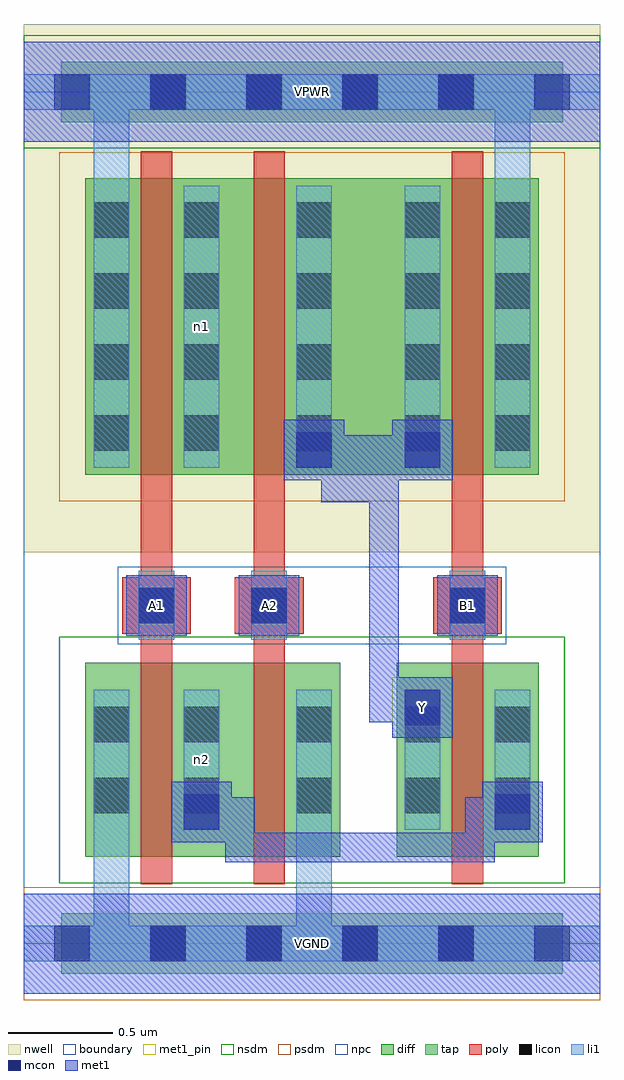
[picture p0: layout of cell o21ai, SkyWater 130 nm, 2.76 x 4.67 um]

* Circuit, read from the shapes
.subckt o21ai A1 A2 B1 VGND VPWR Y n1 n2
XM1 n2 A1 VGND VGND sky130_fd_pr__nfet_01v8 w=0.93 l=0.15
XM2 VGND A2 n2 VGND sky130_fd_pr__nfet_01v8 w=0.93 l=0.15
XM3 n2 B1 Y VGND sky130_fd_pr__nfet_01v8 w=0.93 l=0.15
XM4 n1 A1 VPWR VPWR sky130_fd_pr__pfet_01v8 w=1.42 l=0.15
XM5 Y A2 n1 VPWR sky130_fd_pr__pfet_01v8 w=1.42 l=0.15
XM6 VPWR B1 Y VPWR sky130_fd_pr__pfet_01v8 w=1.42 l=0.15
.ends

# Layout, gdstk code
import gdstk
lib = gdstk.Library(unit=1e-6, precision=1e-09)
def R(c, l, rs):  # rectangles x0, y0, x1, y1
    for r in rs: c.add(gdstk.rectangle(r[:2], r[2:], *l))
def A(c, l, x, y, w, h, nx, ny, dx, dy):  # array of equal rectangles
    R(c, l, [(x+i*dx, y+j*dy, x+i*dx+w, y+j*dy+h) for i in range(nx) for j in range(ny)])
nwell = (64, 20)
diff = (65, 20)
tap = (65, 44)
poly = (66, 20)
licon = (66, 44)
li1 = (67, 20)
mcon = (67, 44)
met1_pin = (68, 16)
met1 = (68, 20)
nsdm = (93, 44)
psdm = (94, 20)
npc = (95, 20)
boundary = (235, 4)

o21ai = lib.new_cell('o21ai')
R(o21ai, nwell, [(0,1.875,2.76,4.405)])
R(o21ai, diff, [(0.295,0.415,1.515,1.345), (1.785,0.415,2.465,1.345), (0.295,2.245,2.465,3.665)])
R(o21ai, tap, [(0.18,-0.145,2.58,0.145), (0.18,3.935,2.58,4.225)])
R(o21ai, poly, [(0.56,0.285,0.71,3.795), (1.1,0.285,1.25,3.795), (2.05,0.285,2.2,3.795), (0.47,1.485,0.8,1.755), (1.01,1.485,1.34,1.755), (1.96,1.485,2.29,1.755)])
A(o21ai, licon, 0.605, -0.085, 0.17, 0.17, 4, 2, 0.46, 4.08)
A(o21ai, licon, 0.335, 2.36, 0.17, 0.17, 1, 4, 0, 0.34)
A(o21ai, licon, 0.765, 2.36, 0.17, 0.17, 1, 4, 0, 0.34)
A(o21ai, licon, 1.305, 2.36, 0.17, 0.17, 1, 4, 0, 0.34)
A(o21ai, licon, 1.825, 2.36, 0.17, 0.17, 1, 4, 0, 0.34)
A(o21ai, licon, 2.255, 2.36, 0.17, 0.17, 1, 4, 0, 0.34)
R(o21ai, licon, [(0.335,0.625,0.505,0.795), (0.765,0.625,0.935,0.795), (1.305,0.625,1.475,0.795), (1.825,0.625,1.995,0.795), (2.255,0.625,2.425,0.795), (0.335,0.965,0.505,1.135), (0.765,0.965,0.935,1.135), (1.305,0.965,1.475,1.135), (1.825,0.965,1.995,1.135), (2.255,0.965,2.425,1.135), (0.55,1.535,0.72,1.705), (1.09,1.535,1.26,1.705), (2.04,1.535,2.21,1.705)])
R(o21ai, li1, [(0,-0.085,2.76,0.085), (0.335,-0.085,0.505,1.215), (1.305,-0.085,1.475,1.215), (0.335,0.545,0.505,1.215), (0.765,0.545,0.935,1.215), (1.305,0.545,1.475,1.215), (1.825,0.545,1.995,1.215), (2.255,0.545,2.425,1.215), (0.55,1.455,0.72,1.785), (1.09,1.455,1.26,1.785), (2.04,1.455,2.21,1.785), (0.335,2.28,0.505,3.63), (0.335,2.28,0.505,4.165), (0.765,2.28,0.935,3.63), (1.305,2.28,1.475,3.63), (1.825,2.28,1.995,3.63), (2.255,2.28,2.425,3.63), (2.255,2.28,2.425,4.165), (0,3.995,2.76,4.165)])
A(o21ai, mcon, 0.145, -0.085, 0.17, 0.17, 6, 2, 0.46, 4.08)
R(o21ai, mcon, [(0.765,0.545,0.935,0.715), (2.255,0.545,2.425,0.715), (1.825,1.045,1.995,1.215), (0.55,1.535,0.72,1.705), (1.09,1.535,1.26,1.705), (2.04,1.535,2.21,1.705), (1.305,2.28,1.475,2.45), (1.825,2.28,1.995,2.45)])
R(o21ai, met1_pin, [(0,-0.24,2.76,0.24), (1.765,0.985,2.055,1.275), (0.49,1.475,0.78,1.765), (1.03,1.475,1.32,1.765), (1.98,1.475,2.27,1.765), (0,3.84,2.76,4.32)])
R(o21ai, met1, [(0,-0.24,2.76,0.24), (0.965,0.39,1.105,0.7), (0.965,0.39,2.255,0.53), (2.115,0.39,2.255,0.7), (0.705,0.485,0.995,0.775), (2.195,0.485,2.485,0.775), (0.78,0.56,1.105,0.7), (2.115,0.56,2.41,0.7), (1.765,0.985,2.055,1.275), (1.655,1.06,1.98,1.2), (1.655,1.06,1.795,1.335), (1.655,1.195,1.795,2.255), (0.49,1.475,0.78,1.765), (1.03,1.475,1.32,1.765), (1.98,1.475,2.27,1.765), (1.425,2.115,1.565,2.435), (1.425,2.115,1.795,2.255), (1.565,2.115,1.655,2.435), (1.655,2.115,1.795,2.435), (1.245,2.22,1.535,2.51), (1.535,2.22,1.655,2.435), (1.765,2.22,2.055,2.51), (1.32,2.295,1.565,2.435), (1.535,2.295,1.655,2.435), (1.565,2.295,1.655,2.435), (1.655,2.295,1.98,2.435), (0,3.84,2.76,4.32)])
R(o21ai, nsdm, [(0.17,0.29,2.59,1.47), (0,3.81,2.76,4.35)])
R(o21ai, psdm, [(0,-0.27,2.76,0.27), (0.17,2.12,2.59,3.79)])
R(o21ai, npc, [(0.45,1.435,2.31,1.805)])
R(o21ai, boundary, [(0,0,2.76,4.08)])
o21ai.add(gdstk.Label('n1', (0.85,2.955), layer=67, texttype=5))
o21ai.add(gdstk.Label('n2', (0.85,0.88), layer=67, texttype=5))
o21ai.add(gdstk.Label('A1', (0.635,1.62), layer=68, texttype=5))
o21ai.add(gdstk.Label('A2', (1.175,1.62), layer=68, texttype=5))
o21ai.add(gdstk.Label('B1', (2.125,1.62), layer=68, texttype=5))
o21ai.add(gdstk.Label('Y', (1.91,1.13), layer=68, texttype=5))
o21ai.add(gdstk.Label('VPWR', (1.38,4.08), layer=68, texttype=5))
o21ai.add(gdstk.Label('VGND', (1.38,0), layer=68, texttype=5))
o21ai.add(gdstk.Label('A1', (0.635,1.62), layer=68, texttype=16))
o21ai.add(gdstk.Label('A2', (1.175,1.62), layer=68, texttype=16))
o21ai.add(gdstk.Label('B1', (2.125,1.62), layer=68, texttype=16))
o21ai.add(gdstk.Label('Y', (1.91,1.13), layer=68, texttype=16))
o21ai.add(gdstk.Label('VPWR', (1.38,4.08), layer=68, texttype=16))
o21ai.add(gdstk.Label('VGND', (1.38,0), layer=68, texttype=16))

lib.write_gds('o21ai.gds')
